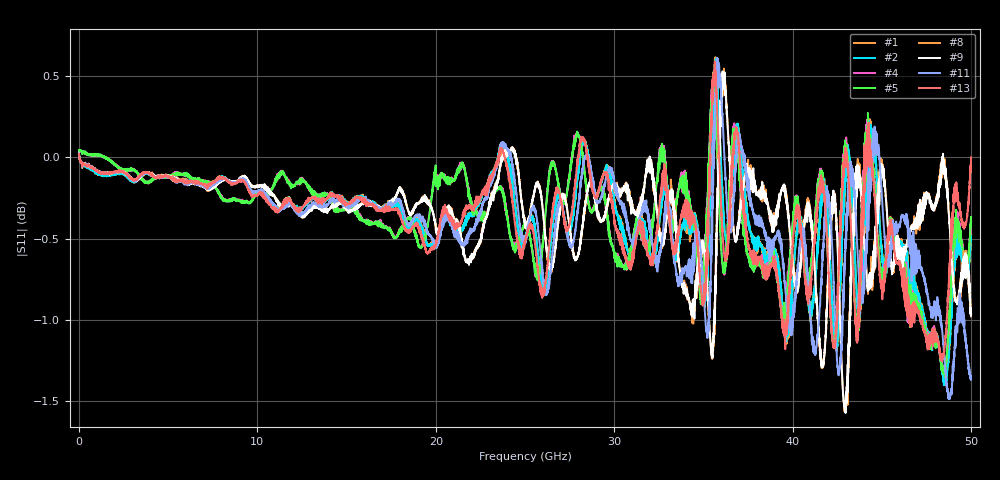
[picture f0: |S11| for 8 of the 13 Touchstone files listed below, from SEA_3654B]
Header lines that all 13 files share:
!Created with skrf (http://scikit-rf.org).
# Hz S RI R 50.0
!freq ReS11 ImS11
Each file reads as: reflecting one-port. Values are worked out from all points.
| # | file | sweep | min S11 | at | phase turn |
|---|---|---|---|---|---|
| 1 | 3654B_FM_85056A_FSHORT_FieldFox_mate1_swp0.s1p | 5.3 MHz to 50 GHz | -1.4 dB | 48.51 GHz | -3723 deg |
| 2 | 3654B_FM_85056A_FSHORT_FieldFox_mate1_swp1.s1p | 5.3 MHz to 50 GHz | -1.4 dB | 48.48 GHz | -3723 deg |
| 3 | 3654B_FM_85056A_FSHORT_FieldFox_mate1_swp2.s1p | 5.3 MHz to 50 GHz | -1.4 dB | 48.59 GHz | -3724 deg |
| 4 | 3654B_FM_85058B_FOPEN_FieldFox_mate1_swp0.s1p | 300 kHz to 50 GHz | -1.3 dB | 48.49 GHz | -3550 deg |
| 5 | 3654B_FM_85058B_FOPEN_FieldFox_mate1_swp1.s1p | 300 kHz to 50 GHz | -1.3 dB | 48.48 GHz | -3550 deg |
| 6 | 3654B_FM_85058B_FOPEN_FieldFox_mate1_swp2.s1p | 300 kHz to 50 GHz | -1.3 dB | 48.48 GHz | -3550 deg |
| 7 | 3654B_FM_85058B_FSHORT1_FieldFox_mate1_swp0.s1p | 5.3 MHz to 50 GHz | -1.6 dB | 42.99 GHz | -3561 deg |
| 8 | 3654B_FM_85058B_FSHORT1_FieldFox_mate1_swp1.s1p | 5.3 MHz to 50 GHz | -1.6 dB | 42.96 GHz | -3561 deg |
| 9 | 3654B_FM_85058B_FSHORT1_FieldFox_mate1_swp2.s1p | 5.3 MHz to 50 GHz | -1.6 dB | 42.97 GHz | -3561 deg |
| 10 | 3654B_FM_85058B_FSHORT2_FieldFox_mate1_swp0.s1p | 5.3 MHz to 50 GHz | -1.5 dB | 48.73 GHz | -3660 deg |
| 11 | 3654B_FM_85058B_FSHORT2_FieldFox_mate1_swp1.s1p | 5.3 MHz to 50 GHz | -1.5 dB | 48.76 GHz | -3661 deg |
| 12 | 3654B_FM_85058B_FSHORT2_FieldFox_mate1_swp2.s1p | 5.3 MHz to 50 GHz | -1.5 dB | 48.79 GHz | -3661 deg |
| 13 | 3654B_FM_85058B_FSHORT3_FieldFox_mate1_swp0.s1p | 5.3 MHz to 50 GHz | -1.3 dB | 48.34 GHz | -3760 deg |
